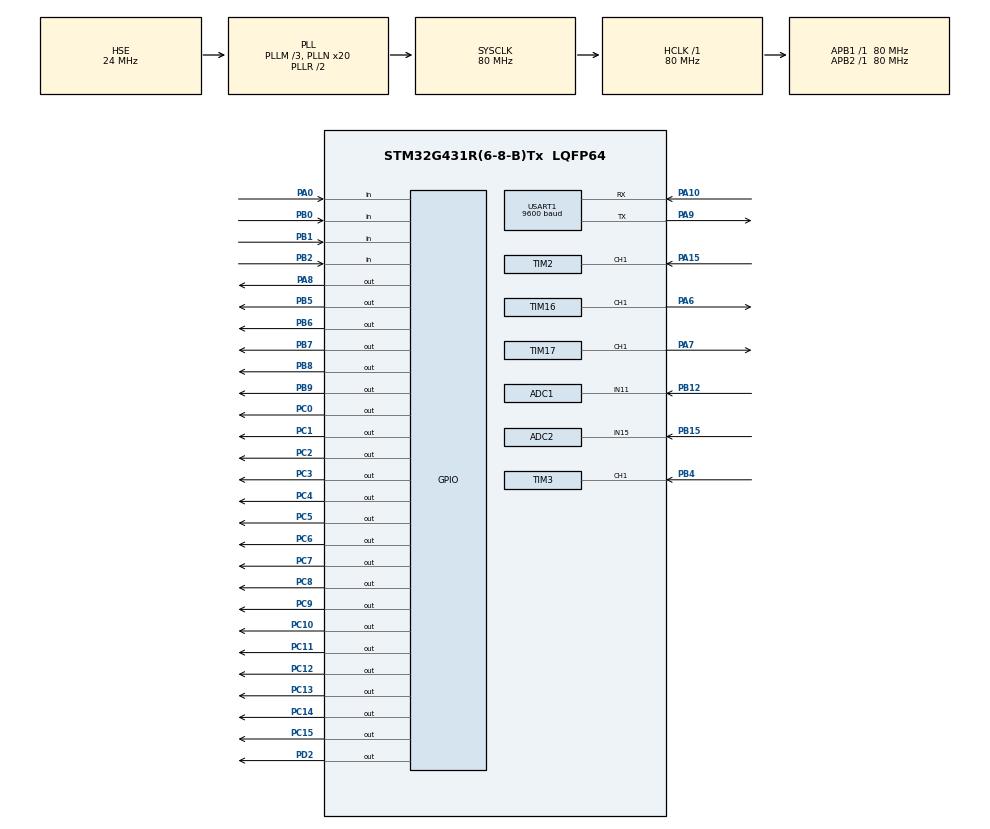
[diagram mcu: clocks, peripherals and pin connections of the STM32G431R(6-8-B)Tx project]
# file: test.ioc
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ADC1.Channel-0\#ChannelRegularConversion=ADC_CHANNEL_11
ADC1.NbrOfConversionFlag=1
ADC1.OffsetNumber-0\#ChannelRegularConversion=ADC_OFFSET_NONE
ADC1.Rank-0\#ChannelRegularConversion=1
ADC1.SamplingTime-0\#ChannelRegularConversion=ADC_SAMPLETIME_2CYCLES_5
ADC1.master=1
ADC2.Channel-0\#ChannelRegularConversion=ADC_CHANNEL_15
ADC2.NbrOfConversionFlag=1
ADC2.OffsetNumber-0\#ChannelRegularConversion=ADC_OFFSET_NONE
ADC2.Rank-0\#ChannelRegularConversion=1
ADC2.SamplingTime-0\#ChannelRegularConversion=ADC_SAMPLETIME_2CYCLES_5
Mcu.Family=STM32G4
Mcu.Name=STM32G431R(6-8-B)Tx
Mcu.Package=LQFP64
NVIC.PriorityGroup=NVIC_PRIORITYGROUP_4
NVIC.TIM2_IRQn=true\:0\:0\:false\:false\:true\:true\:true\:true
NVIC.TIM3_IRQn=true\:0\:0\:false\:false\:true\:true\:true\:true
NVIC.TIM4_IRQn=true\:0\:0\:false\:false\:true\:true\:true\:true
NVIC.USART1_IRQn=true\:0\:0\:false\:false\:true\:true\:true\:true
PA0.GPIO_PuPd=GPIO_PULLUP
PA0.Signal=GPIO_Input
PA10.Mode=Asynchronous
PA10.Signal=USART1_RX
PA13.Mode=Serial_Wire
PA13.Signal=SYS_JTMS-SWDIO
PA14.Mode=Serial_Wire
PA14.Signal=SYS_JTCK-SWCLK
PA15.Signal=S_TIM2_CH1
PA6.Signal=S_TIM16_CH1
PA7.Signal=S_TIM17_CH1
PA8.Signal=GPIO_Output
PA9.Mode=Asynchronous
PA9.Signal=USART1_TX
PB0.GPIO_PuPd=GPIO_PULLUP
PB0.Signal=GPIO_Input
PB1.GPIO_PuPd=GPIO_PULLUP
PB1.Signal=GPIO_Input
PB12.Mode=IN11-Single-Ended
PB12.Signal=ADC1_IN11
PB15.Mode=IN15-Single-Ended
PB15.Signal=ADC2_IN15
PB2.GPIO_PuPd=GPIO_PULLUP
PB2.Signal=GPIO_Input
PB4.Signal=S_TIM3_CH1
PB5.Signal=GPIO_Output
PB6.Signal=GPIO_Output
PB7.Signal=GPIO_Output
PB8-BOOT0.Signal=GPIO_Output
PB9.Signal=GPIO_Output
PC0.Signal=GPIO_Output
PC1.Signal=GPIO_Output
PC10.PinState=GPIO_PIN_SET
PC10.Signal=GPIO_Output
PC11.PinState=GPIO_PIN_SET
PC11.Signal=GPIO_Output
PC12.PinState=GPIO_PIN_SET
PC12.Signal=GPIO_Output
PC13.Signal=GPIO_Output
PC14-OSC32_IN.Signal=GPIO_Output
PC15-OSC32_OUT.Signal=GPIO_Output
PC2.Signal=GPIO_Output
PC3.Signal=GPIO_Output
PC4.Signal=GPIO_Output
PC5.Signal=GPIO_Output
PC6.Signal=GPIO_Output
PC7.Signal=GPIO_Output
PC8.PinState=GPIO_PIN_SET
PC8.Signal=GPIO_Output
PC9.PinState=GPIO_PIN_SET
PC9.Signal=GPIO_Output
PD2.Signal=GPIO_Output
PF0-OSC_IN.Mode=HSE-External-Oscillator
PF0-OSC_IN.Signal=RCC_OSC_IN
PF1-OSC_OUT.Mode=HSE-External-Oscillator
PF1-OSC_OUT.Signal=RCC_OSC_OUT
ProjectManager.HeapSize=0x200
ProjectManager.StackSize=0x400
ProjectManager.TargetToolchain=MDK-ARM V5.32
RCC.ADC12Freq_Value=80000000
RCC.AHBFreq_Value=80000000
RCC.APB1Freq_Value=80000000
RCC.APB1TimFreq_Value=80000000
RCC.APB2Freq_Value=80000000
RCC.APB2TimFreq_Value=80000000
RCC.CortexFreq_Value=80000000
RCC.EXTERNAL_CLOCK_VALUE=12288000
RCC.HCLKFreq_Value=80000000
RCC.HSE_VALUE=24000000
RCC.HSI48_VALUE=48000000
RCC.HSI_VALUE=16000000
RCC.LSE_VALUE=32768
RCC.PLLM=RCC_PLLM_DIV3
RCC.PLLN=20
RCC.PLLSourceVirtual=RCC_PLLSOURCE_HSE
RCC.SYSCLKFreq_VALUE=80000000
RCC.SYSCLKSource=RCC_SYSCLKSOURCE_PLLCLK
RCC.USBFreq_Value=80000000
RCC.VCOOutputFreq_Value=160000000
SH.S_TIM16_CH1.0=TIM16_CH1,PWM Generation1 CH1
SH.S_TIM17_CH1.0=TIM17_CH1,PWM Generation1 CH1
SH.S_TIM2_CH1.0=TIM2_CH1,Input_Capture1_from_TI1
SH.S_TIM3_CH1.0=TIM3_CH1,Input_Capture1_from_TI1
TIM16.Channel=TIM_CHANNEL_1
TIM16.PeriodNoDither=100-1
TIM16.Prescaler=8000-1
TIM16.PulseNoDither_1=20
TIM17.Channel=TIM_CHANNEL_1
TIM17.PeriodNoDither=100-1
TIM17.Prescaler=4000-1
TIM17.PulseNoDither_1=20
TIM2.Channel-Input_Capture1_from_TI1=TIM_CHANNEL_1
TIM2.Channel-Input_Capture2_from_TI1_63=TIM_CHANNEL_2
TIM2.ICPolarity_CH1=TIM_INPUTCHANNELPOLARITY_RISING
TIM2.ICPolarity_CH2=TIM_INPUTCHANNELPOLARITY_FALLING
TIM2.Prescaler=80-1
TIM3.Channel-Input_Capture1_from_TI1=TIM_CHANNEL_1
TIM3.Channel-Input_Capture2_from_TI1_63=TIM_CHANNEL_2
TIM3.ICPolarity_CH2=TIM_INPUTCHANNELPOLARITY_FALLING
TIM3.PeriodNoDither=65535
TIM3.Prescaler=80-1
TIM4.PeriodNoDither=10000-1
TIM4.Prescaler=80-1
USART1.BaudRate=9600
USART1.VirtualMode-Asynchronous=VM_ASYNC
VP_SYS_VS_DBSignals.Mode=DisableDeadBatterySignals
VP_TIM16_VS_ClockSourceINT.Mode=Enable_Timer
VP_TIM17_VS_ClockSourceINT.Mode=Enable_Timer
VP_TIM1_VS_ClockSourceINT.Mode=Internal
VP_TIM2_VS_ClockSourceINT.Mode=Internal
VP_TIM2_VS_indirect_ch1.Mode=Input_Capture2_from_TI1_63
VP_TIM3_VS_ClockSourceINT.Mode=Internal
VP_TIM3_VS_indirect_ch1.Mode=Input_Capture2_from_TI1_63
VP_TIM4_VS_ClockSourceINT.Mode=Internal
board=custom

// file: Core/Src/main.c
/* USER CODE BEGIN Header */
/**
  ******************************************************************************
  * @file           : main.c
  * @brief          : Main program body
  ******************************************************************************
  * @attention
  *
  * <h2><center>&copy; Copyright (c) 2022 STMicroelectronics.
  * All rights reserved.</center></h2>
  *
  * This software component is licensed by ST under BSD 3-Clause license,
  * the "License"; You may not use this file except in compliance with the
  * License. You may obtain a copy of the License at:
  *                        opensource.org/licenses/BSD-3-Clause
  *
  ******************************************************************************
  */
/* USER CODE END Header */
#include "main.h"
#include "adc.h"
#include "tim.h"
#include "usart.h"
#include "gpio.h"

/* USER CODE BEGIN Includes */
#include "led.h"
#include "lcd.h"
#include "stdio.h"
#include "interrupt.h"
#include "badc.h"
#include "i2c - hal.h"
#include "string.h"
/* USER CODE END Includes */

/* USER CODE BEGIN PTD */
extern struct keys key[];
extern uint frq1,frq2;
extern float duty1,duty2;

extern char rxdata[30];
extern uint8_t rxdat;
extern uchar rx_pointer;

uchar view=0;

uchar pa6_duty=10;
uchar pa7_duty=10;

char car_type[5];
char car_data[5];
char car_time[13];
void key_proc(void);
void disp_proc(void);
void uart_rx_proc(void);
/* USER CODE END PTD */

void SystemClock_Config(void);

int main(void)
{

  /* MCU Configuration--------------------------------------------------------*/

  /* Reset of all peripherals, Initializes the Flash interface and the Systick. */
  HAL_Init();

  /* Configure the system clock */
  SystemClock_Config();

  /* Initialize all configured peripherals */
  MX_GPIO_Init();
  MX_TIM1_Init();
  MX_TIM3_Init();
  MX_TIM16_Init();
  MX_TIM17_Init();
  MX_TIM2_Init();
  MX_TIM4_Init();
  MX_ADC1_Init();
  MX_ADC2_Init();
  MX_USART1_UART_Init();
  /* USER CODE BEGIN 2 */
	LED_Disp(0x00);//LED的初始化
	LCD_Init();//LCD屏的初始化

	HAL_UART_Receive_IT(&huart1,&rxdat,1);

	LCD_Clear(Black);
	LCD_SetBackColor(Black);
	LCD_SetTextColor(White);

	HAL_TIM_Base_Start_IT(&htim4);

	HAL_TIM_PWM_Start(&htim16,TIM_CHANNEL_1);//pwm输出开启
	HAL_TIM_PWM_Start(&htim17,TIM_CHANNEL_1);
	HAL_TIM_IC_Start_IT(&htim2,TIM_CHANNEL_1);//频率测量捕获定时器开启
	HAL_TIM_IC_Start_IT(&htim3,TIM_CHANNEL_1);
  HAL_TIM_IC_Start_IT(&htim2,TIM_CHANNEL_2);//频率测量捕获定时器开启 间接通道
	HAL_TIM_IC_Start_IT(&htim3,TIM_CHANNEL_2);

	__HAL_TIM_SetCompare(&htim16,TIM_CHANNEL_1,pa6_duty);//设置初始pwm频率
	__HAL_TIM_SetCompare(&htim17,TIM_CHANNEL_1,pa7_duty);
  /* USER CODE END 2 */

  /* Infinite loop */
  while (1)
  {

    /* USER CODE BEGIN 3 */
//		LED_Disp(0x01);
//		HAL_Delay(500);
//		LED_Disp(0x00);
//		HAL_Delay(500);

		key_proc();
		disp_proc();
		if(rx_pointer!=0)
		{
			int temp=rx_pointer;
			HAL_Delay(1);
			if (temp==rx_pointer)uart_rx_proc();//完成接收
		}
//		char temp[20];
//		sprintf(temp,"frq=%d\r\n",frq1);
//		HAL_UART_Transmit(&huart1,(uint8_t *)temp,strlen(temp),50);
  }
  /* USER CODE END 3 */
}

void SystemClock_Config(void)
{
  RCC_OscInitTypeDef RCC_OscInitStruct = {0};
  RCC_ClkInitTypeDef RCC_ClkInitStruct = {0};
  RCC_PeriphCLKInitTypeDef PeriphClkInit = {0};

  /** Configure the main internal regulator output voltage
  */
  HAL_PWREx_ControlVoltageScaling(PWR_REGULATOR_VOLTAGE_SCALE1);
  /** Initializes the RCC Oscillators according to the specified parameters
  * in the RCC_OscInitTypeDef structure.
  */
  RCC_OscInitStruct.OscillatorType = RCC_OSCILLATORTYPE_HSE;
  RCC_OscInitStruct.HSEState = RCC_HSE_ON;
  RCC_OscInitStruct.PLL.PLLState = RCC_PLL_ON;
  RCC_OscInitStruct.PLL.PLLSource = RCC_PLLSOURCE_HSE;
  RCC_OscInitStruct.PLL.PLLM = RCC_PLLM_DIV3;
  RCC_OscInitStruct.PLL.PLLN = 20;
  RCC_OscInitStruct.PLL.PLLP = RCC_PLLP_DIV2;
  RCC_OscInitStruct.PLL.PLLQ = RCC_PLLQ_DIV2;
  RCC_OscInitStruct.PLL.PLLR = RCC_PLLR_DIV2;
  if (HAL_RCC_OscConfig(&RCC_OscInitStruct) != HAL_OK)
  {
    Error_Handler();
  }
  /** Initializes the CPU, AHB and APB buses clocks
  */
  RCC_ClkInitStruct.ClockType = RCC_CLOCKTYPE_HCLK|RCC_CLOCKTYPE_SYSCLK
                              |RCC_CLOCKTYPE_PCLK1|RCC_CLOCKTYPE_PCLK2;
  RCC_ClkInitStruct.SYSCLKSource = RCC_SYSCLKSOURCE_PLLCLK;
  RCC_ClkInitStruct.AHBCLKDivider = RCC_SYSCLK_DIV1;
  RCC_ClkInitStruct.APB1CLKDivider = RCC_HCLK_DIV1;
  RCC_ClkInitStruct.APB2CLKDivider = RCC_HCLK_DIV1;

  if (HAL_RCC_ClockConfig(&RCC_ClkInitStruct, FLASH_LATENCY_2) != HAL_OK)
  {
    Error_Handler();
  }
  /** Initializes the peripherals clocks
  */
  PeriphClkInit.PeriphClockSelection = RCC_PERIPHCLK_USART1|RCC_PERIPHCLK_ADC12;
  PeriphClkInit.Usart1ClockSelection = RCC_USART1CLKSOURCE_PCLK2;
  PeriphClkInit.Adc12ClockSelection = RCC_ADC12CLKSOURCE_SYSCLK;
  if (HAL_RCCEx_PeriphCLKConfig(&PeriphClkInit) != HAL_OK)
  {
    Error_Handler();
  }
}

/* USER CODE BEGIN 4 */
void key_proc(void)
{
		if(key[0].single_flag==1)
		{
			view++;
			if (view==3) view=0;
			LCD_Clear(Black);
			key[0].single_flag=0;
		}

		if(key[1].single_flag==1)
		{
			pa6_duty+=10;
			if(pa6_duty>=100) pa6_duty=10;
			__HAL_TIM_SetCompare(&htim16,TIM_CHANNEL_1,pa6_duty);
			key[1].single_flag=0;
		}
		if(key[2].single_flag==1)
		{
			pa7_duty+=10;
			if(pa7_duty>=100) pa7_duty=10;
			__HAL_TIM_SetCompare(&htim17,TIM_CHANNEL_1,pa7_duty);
			key[2].single_flag=0;
		}

		if(key[3].single_flag==1)
		{
			uchar frq_h=frq1>>8;
			uchar frq_l=frq1&0xff;
			eeprom_write(1,frq_h);
			HAL_Delay(10);
			eeprom_write(2,frq_l);
			key[3].single_flag=0;
		}
}

void disp_proc(void)
{
	if(view==0)
	{
		char text[30];
		sprintf(text,"      Data      ");
		LCD_DisplayStringLine(Line1, (uint8_t *)text);
		sprintf(text,"     FRQ1=%d      ",frq1);
		LCD_DisplayStringLine(Line2, (uint8_t *)text);
		sprintf(text,"     duty1=%.3f      ",duty1);
		LCD_DisplayStringLine(Line3, (uint8_t *)text);
		sprintf(text,"     FRQ2=%d      ",frq2);
		LCD_DisplayStringLine(Line4, (uint8_t *)text);
		sprintf(text,"     duty2=%.3f      ",duty2);
		LCD_DisplayStringLine(Line5, (uint8_t *)text);

		sprintf(text,"     V1:=%.2f      ",getADC(&hadc1));
		LCD_DisplayStringLine(Line6, (uint8_t *)text);
		sprintf(text,"     V2:=%.2f      ",getADC(&hadc2));
		LCD_DisplayStringLine(Line7, (uint8_t *)text);

		uint eep_temp=(eeprom_read(1)<<8)+eeprom_read(2);
		sprintf(text,"     FRQ_eep=%d      ",eep_temp);
		LCD_DisplayStringLine(Line8, (uint8_t *)text);
	}
	if(view==1)
	{
		char text[30];
		sprintf(text,"      Para      ");
		LCD_DisplayStringLine(Line1, (uint8_t *)text);
		sprintf(text,"    PA6:%d      ",pa6_duty);
		LCD_DisplayStringLine(Line2, (uint8_t *)text);
		sprintf(text,"    PA7:%d      ",pa7_duty);
		LCD_DisplayStringLine(Line4, (uint8_t *)text);

		//清理界面残留
		sprintf(text,"                        ");
		LCD_DisplayStringLine(Line3, (uint8_t *)text);
		LCD_DisplayStringLine(Line5, (uint8_t *)text);
	}
	if(view==2)
	{
		char text[30];
		sprintf(text,"      Car_msg      ");
		LCD_DisplayStringLine(Line1, (uint8_t *)text);
		sprintf(text,"car_type=%s      ",car_type);
		LCD_DisplayStringLine(Line2, (uint8_t *)text);
		sprintf(text,"car_data=%s      ",car_data);
		LCD_DisplayStringLine(Line3, (uint8_t *)text);
		sprintf(text,"cat_time=%s      ",car_time);
		LCD_DisplayStringLine(Line4, (uint8_t *)text);
	}
}

void uart_rx_proc()
{
	if(rx_pointer>0)
	{
		if(rx_pointer==22)
		{
			sscanf(rxdata,"%4s:%4s:%12s",car_type,car_data,car_time);
		}
		else
		{
				char temp[20];
				sprintf(temp,"Error");
				HAL_UART_Transmit(&huart1,(uint8_t *)temp,strlen(temp),50);
		}
		rx_pointer=0;memset(rxdata,0,30);
	}
}
/* USER CODE END 4 */

void Error_Handler(void)
{
  __disable_irq();
  while (1)
  {
  }
}

/************************ (C) COPYRIGHT STMicroelectronics *****END OF FILE****/
